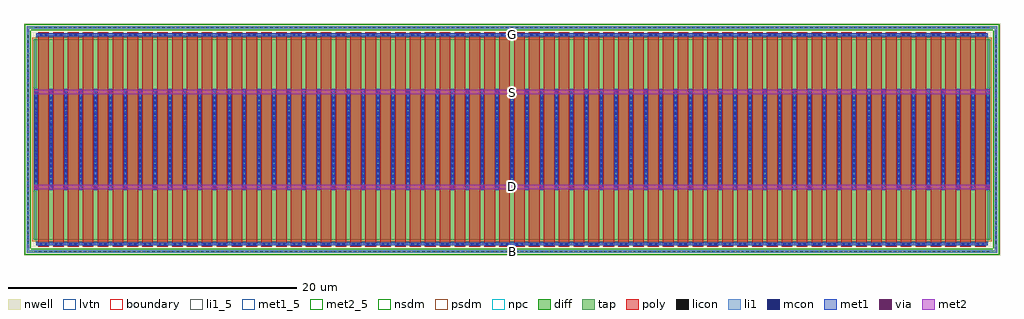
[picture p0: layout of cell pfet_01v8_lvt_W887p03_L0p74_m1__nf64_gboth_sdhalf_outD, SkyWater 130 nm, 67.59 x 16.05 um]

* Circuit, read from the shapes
.subckt pfet_01v8_lvt_W887p03_L0p74_m1__nf64_gboth_sdhalf_outD B D G S
XM1 S G D B sky130_fd_pr__pfet_01v8_lvt w=13.86 l=0.74 m=64
.ends

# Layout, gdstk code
import gdstk
lib = gdstk.Library(unit=1e-6, precision=1e-09)
def R(c, l, rs):  # rectangles x0, y0, x1, y1
    for r in rs: c.add(gdstk.rectangle(r[:2], r[2:], *l))
def A(c, l, x, y, w, h, nx, ny, dx, dy):  # array of equal rectangles
    R(c, l, [(x+i*dx, y+j*dy, x+i*dx+w, y+j*dy+h) for i in range(nx) for j in range(ny)])
nwell = (64, 20)
diff = (65, 20)
tap = (65, 44)
poly = (66, 20)
licon = (66, 44)
li1_5 = (67, 5)
li1 = (67, 20)
mcon = (67, 44)
met1_5 = (68, 5)
met1 = (68, 20)
via = (68, 44)
met2_5 = (69, 5)
met2 = (69, 20)
nsdm = (93, 44)
psdm = (94, 20)
npc = (95, 20)
lvtn = (125, 44)
boundary = (235, 4)

sky130_fd_pr__pfet_01v8_ = lib.new_cell('sky130_fd_pr__pfet_01v8_lvt_4ATV9N')
R(sky130_fd_pr__pfet_01v8_, nwell, [(-33.795,-8.025,33.795,8.025)])
R(sky130_fd_pr__pfet_01v8_, diff, [(-33.105,-6.93,33.105,6.93)])
R(sky130_fd_pr__pfet_01v8_, tap, [(-33.615,-7.845,33.615,-7.675), (-33.615,-7.675,-33.445,7.675), (33.445,-7.675,33.615,7.675), (-33.615,7.675,33.615,7.845)])
A(sky130_fd_pr__pfet_01v8_, poly, -32.815, -7.415, 0.74, 14.83, 64, 1, 1.03, 0)
A(sky130_fd_pr__pfet_01v8_, licon, -33.065, -7.845, 0.17, 0.17, 195, 2, 0.34, 15.52)
A(sky130_fd_pr__pfet_01v8_, licon, -33.615, -7.225, 0.17, 0.17, 1, 43, 0, 0.34)
A(sky130_fd_pr__pfet_01v8_, licon, 33.445, -7.225, 0.17, 0.17, 1, 43, 0, 0.34)
A(sky130_fd_pr__pfet_01v8_, licon, -33.045, -3.315, 0.17, 0.17, 65, 20, 1.03, 0.34)
R(sky130_fd_pr__pfet_01v8_, licon, [(-32.7,-7.335,-32.53,-7.165), (-32.36,-7.335,-32.19,-7.165), (-31.67,-7.335,-31.5,-7.165), (-31.33,-7.335,-31.16,-7.165), (-30.64,-7.335,-30.47,-7.165), (-30.3,-7.335,-30.13,-7.165), (-29.61,-7.335,-29.44,-7.165), (-29.27,-7.335,-29.1,-7.165), (-28.58,-7.335,-28.41,-7.165), (-28.24,-7.335,-28.07,-7.165), (-27.55,-7.335,-27.38,-7.165), (-27.21,-7.335,-27.04,-7.165), (-26.52,-7.335,-26.35,-7.165), (-26.18,-7.335,-26.01,-7.165), (-25.49,-7.335,-25.32,-7.165), (-25.15,-7.335,-24.98,-7.165), (-24.46,-7.335,-24.29,-7.165), (-24.12,-7.335,-23.95,-7.165), (-23.43,-7.335,-23.26,-7.165), (-23.09,-7.335,-22.92,-7.165), (-22.4,-7.335,-22.23,-7.165), (-22.06,-7.335,-21.89,-7.165), (-21.37,-7.335,-21.2,-7.165), (-21.03,-7.335,-20.86,-7.165), (-20.34,-7.335,-20.17,-7.165), (-20,-7.335,-19.83,-7.165), (-19.31,-7.335,-19.14,-7.165), (-18.97,-7.335,-18.8,-7.165), (-18.28,-7.335,-18.11,-7.165), (-17.94,-7.335,-17.77,-7.165), (-17.25,-7.335,-17.08,-7.165), (-16.91,-7.335,-16.74,-7.165), (-16.22,-7.335,-16.05,-7.165), (-15.88,-7.335,-15.71,-7.165), (-15.19,-7.335,-15.02,-7.165), (-14.85,-7.335,-14.68,-7.165), (-14.16,-7.335,-13.99,-7.165), (-13.82,-7.335,-13.65,-7.165), (-13.13,-7.335,-12.96,-7.165), (-12.79,-7.335,-12.62,-7.165), (-12.1,-7.335,-11.93,-7.165), (-11.76,-7.335,-11.59,-7.165), (-11.07,-7.335,-10.9,-7.165), (-10.73,-7.335,-10.56,-7.165), (-10.04,-7.335,-9.87,-7.165), (-9.7,-7.335,-9.53,-7.165), (-9.01,-7.335,-8.84,-7.165), (-8.67,-7.335,-8.5,-7.165), (-7.98,-7.335,-7.81,-7.165), (-7.64,-7.335,-7.47,-7.165), (-6.95,-7.335,-6.78,-7.165), (-6.61,-7.335,-6.44,-7.165), (-5.92,-7.335,-5.75,-7.165), (-5.58,-7.335,-5.41,-7.165), (-4.89,-7.335,-4.72,-7.165), (-4.55,-7.335,-4.38,-7.165), (-3.86,-7.335,-3.69,-7.165), (-3.52,-7.335,-3.35,-7.165), (-2.83,-7.335,-2.66,-7.165), (-2.49,-7.335,-2.32,-7.165), (-1.8,-7.335,-1.63,-7.165), (-1.46,-7.335,-1.29,-7.165), (-0.77,-7.335,-0.6,-7.165), (-0.43,-7.335,-0.26,-7.165), (0.26,-7.335,0.43,-7.165), (0.6,-7.335,0.77,-7.165), (1.29,-7.335,1.46,-7.165), (1.63,-7.335,1.8,-7.165), (2.32,-7.335,2.49,-7.165), (2.66,-7.335,2.83,-7.165), (3.35,-7.335,3.52,-7.165), (3.69,-7.335,3.86,-7.165), (4.38,-7.335,4.55,-7.165), (4.72,-7.335,4.89,-7.165), (5.41,-7.335,5.58,-7.165), (5.75,-7.335,5.92,-7.165), (6.44,-7.335,6.61,-7.165), (6.78,-7.335,6.95,-7.165), (7.47,-7.335,7.64,-7.165), (7.81,-7.335,7.98,-7.165), (8.5,-7.335,8.67,-7.165), (8.84,-7.335,9.01,-7.165), (9.53,-7.335,9.7,-7.165), (9.87,-7.335,10.04,-7.165), (10.56,-7.335,10.73,-7.165), (10.9,-7.335,11.07,-7.165), (11.59,-7.335,11.76,-7.165), (11.93,-7.335,12.1,-7.165), (12.62,-7.335,12.79,-7.165), (12.96,-7.335,13.13,-7.165), (13.65,-7.335,13.82,-7.165), (13.99,-7.335,14.16,-7.165), (14.68,-7.335,14.85,-7.165), (15.02,-7.335,15.19,-7.165), (15.71,-7.335,15.88,-7.165), (16.05,-7.335,16.22,-7.165), (16.74,-7.335,16.91,-7.165), (17.08,-7.335,17.25,-7.165), (17.77,-7.335,17.94,-7.165), (18.11,-7.335,18.28,-7.165), (18.8,-7.335,18.97,-7.165), (19.14,-7.335,19.31,-7.165), (19.83,-7.335,20,-7.165), (20.17,-7.335,20.34,-7.165), (20.86,-7.335,21.03,-7.165), (21.2,-7.335,21.37,-7.165), (21.89,-7.335,22.06,-7.165), (22.23,-7.335,22.4,-7.165), (22.92,-7.335,23.09,-7.165), (23.26,-7.335,23.43,-7.165), (23.95,-7.335,24.12,-7.165), (24.29,-7.335,24.46,-7.165), (24.98,-7.335,25.15,-7.165), (25.32,-7.335,25.49,-7.165), (26.01,-7.335,26.18,-7.165), (26.35,-7.335,26.52,-7.165), (27.04,-7.335,27.21,-7.165), (27.38,-7.335,27.55,-7.165), (28.07,-7.335,28.24,-7.165), (28.41,-7.335,28.58,-7.165), (29.1,-7.335,29.27,-7.165), (29.44,-7.335,29.61,-7.165), (30.13,-7.335,30.3,-7.165), (30.47,-7.335,30.64,-7.165), (31.16,-7.335,31.33,-7.165), (31.5,-7.335,31.67,-7.165), (32.19,-7.335,32.36,-7.165), (32.53,-7.335,32.7,-7.165), (-32.7,7.165,-32.53,7.335), (-32.36,7.165,-32.19,7.335), (-31.67,7.165,-31.5,7.335), (-31.33,7.165,-31.16,7.335), (-30.64,7.165,-30.47,7.335), (-30.3,7.165,-30.13,7.335), (-29.61,7.165,-29.44,7.335), (-29.27,7.165,-29.1,7.335), (-28.58,7.165,-28.41,7.335), (-28.24,7.165,-28.07,7.335), (-27.55,7.165,-27.38,7.335), (-27.21,7.165,-27.04,7.335), (-26.52,7.165,-26.35,7.335), (-26.18,7.165,-26.01,7.335), (-25.49,7.165,-25.32,7.335), (-25.15,7.165,-24.98,7.335), (-24.46,7.165,-24.29,7.335), (-24.12,7.165,-23.95,7.335), (-23.43,7.165,-23.26,7.335), (-23.09,7.165,-22.92,7.335), (-22.4,7.165,-22.23,7.335), (-22.06,7.165,-21.89,7.335), (-21.37,7.165,-21.2,7.335), (-21.03,7.165,-20.86,7.335), (-20.34,7.165,-20.17,7.335), (-20,7.165,-19.83,7.335), (-19.31,7.165,-19.14,7.335), (-18.97,7.165,-18.8,7.335), (-18.28,7.165,-18.11,7.335), (-17.94,7.165,-17.77,7.335), (-17.25,7.165,-17.08,7.335), (-16.91,7.165,-16.74,7.335), (-16.22,7.165,-16.05,7.335), (-15.88,7.165,-15.71,7.335), (-15.19,7.165,-15.02,7.335), (-14.85,7.165,-14.68,7.335), (-14.16,7.165,-13.99,7.335), (-13.82,7.165,-13.65,7.335), (-13.13,7.165,-12.96,7.335), (-12.79,7.165,-12.62,7.335), (-12.1,7.165,-11.93,7.335), (-11.76,7.165,-11.59,7.335), (-11.07,7.165,-10.9,7.335), (-10.73,7.165,-10.56,7.335), (-10.04,7.165,-9.87,7.335), (-9.7,7.165,-9.53,7.335), (-9.01,7.165,-8.84,7.335), (-8.67,7.165,-8.5,7.335), (-7.98,7.165,-7.81,7.335), (-7.64,7.165,-7.47,7.335), (-6.95,7.165,-6.78,7.335), (-6.61,7.165,-6.44,7.335), (-5.92,7.165,-5.75,7.335), (-5.58,7.165,-5.41,7.335), (-4.89,7.165,-4.72,7.335), (-4.55,7.165,-4.38,7.335), (-3.86,7.165,-3.69,7.335), (-3.52,7.165,-3.35,7.335), (-2.83,7.165,-2.66,7.335), (-2.49,7.165,-2.32,7.335), (-1.8,7.165,-1.63,7.335), (-1.46,7.165,-1.29,7.335), (-0.77,7.165,-0.6,7.335), (-0.43,7.165,-0.26,7.335), (0.26,7.165,0.43,7.335), (0.6,7.165,0.77,7.335), (1.29,7.165,1.46,7.335), (1.63,7.165,1.8,7.335), (2.32,7.165,2.49,7.335), (2.66,7.165,2.83,7.335), (3.35,7.165,3.52,7.335), (3.69,7.165,3.86,7.335), (4.38,7.165,4.55,7.335), (4.72,7.165,4.89,7.335), (5.41,7.165,5.58,7.335), (5.75,7.165,5.92,7.335), (6.44,7.165,6.61,7.335), (6.78,7.165,6.95,7.335), (7.47,7.165,7.64,7.335), (7.81,7.165,7.98,7.335), (8.5,7.165,8.67,7.335), (8.84,7.165,9.01,7.335), (9.53,7.165,9.7,7.335), (9.87,7.165,10.04,7.335), (10.56,7.165,10.73,7.335), (10.9,7.165,11.07,7.335), (11.59,7.165,11.76,7.335), (11.93,7.165,12.1,7.335), (12.62,7.165,12.79,7.335), (12.96,7.165,13.13,7.335), (13.65,7.165,13.82,7.335), (13.99,7.165,14.16,7.335), (14.68,7.165,14.85,7.335), (15.02,7.165,15.19,7.335), (15.71,7.165,15.88,7.335), (16.05,7.165,16.22,7.335), (16.74,7.165,16.91,7.335), (17.08,7.165,17.25,7.335), (17.77,7.165,17.94,7.335), (18.11,7.165,18.28,7.335), (18.8,7.165,18.97,7.335), (19.14,7.165,19.31,7.335), (19.83,7.165,20,7.335), (20.17,7.165,20.34,7.335), (20.86,7.165,21.03,7.335), (21.2,7.165,21.37,7.335), (21.89,7.165,22.06,7.335), (22.23,7.165,22.4,7.335), (22.92,7.165,23.09,7.335), (23.26,7.165,23.43,7.335), (23.95,7.165,24.12,7.335), (24.29,7.165,24.46,7.335), (24.98,7.165,25.15,7.335), (25.32,7.165,25.49,7.335), (26.01,7.165,26.18,7.335), (26.35,7.165,26.52,7.335), (27.04,7.165,27.21,7.335), (27.38,7.165,27.55,7.335), (28.07,7.165,28.24,7.335), (28.41,7.165,28.58,7.335), (29.1,7.165,29.27,7.335), (29.44,7.165,29.61,7.335), (30.13,7.165,30.3,7.335), (30.47,7.165,30.64,7.335), (31.16,7.165,31.33,7.335), (31.5,7.165,31.67,7.335), (32.19,7.165,32.36,7.335), (32.53,7.165,32.7,7.335)])
A(sky130_fd_pr__pfet_01v8_, li1, -33.045, -3.515, 0.17, 7.03, 65, 1, 1.03, 0)
R(sky130_fd_pr__pfet_01v8_, li1, [(-33.615,-7.845,33.615,-7.675), (-33.615,-7.675,-33.445,7.675), (33.445,-7.675,33.615,7.675), (-32.96,-7.335,32.96,-7.165), (-32.96,7.165,32.96,7.335), (-33.615,7.675,33.615,7.845)])
A(sky130_fd_pr__pfet_01v8_, mcon, -33.045, -3.325, 0.17, 0.17, 65, 19, 1.03, 0.36)
R(sky130_fd_pr__pfet_01v8_, mcon, [(-32.71,-7.335,-32.54,-7.165), (-32.35,-7.335,-32.18,-7.165), (-31.68,-7.335,-31.51,-7.165), (-31.32,-7.335,-31.15,-7.165), (-30.65,-7.335,-30.48,-7.165), (-30.29,-7.335,-30.12,-7.165), (-29.62,-7.335,-29.45,-7.165), (-29.26,-7.335,-29.09,-7.165), (-28.59,-7.335,-28.42,-7.165), (-28.23,-7.335,-28.06,-7.165), (-27.56,-7.335,-27.39,-7.165), (-27.2,-7.335,-27.03,-7.165), (-26.53,-7.335,-26.36,-7.165), (-26.17,-7.335,-26,-7.165), (-25.5,-7.335,-25.33,-7.165), (-25.14,-7.335,-24.97,-7.165), (-24.47,-7.335,-24.3,-7.165), (-24.11,-7.335,-23.94,-7.165), (-23.44,-7.335,-23.27,-7.165), (-23.08,-7.335,-22.91,-7.165), (-22.41,-7.335,-22.24,-7.165), (-22.05,-7.335,-21.88,-7.165), (-21.38,-7.335,-21.21,-7.165), (-21.02,-7.335,-20.85,-7.165), (-20.35,-7.335,-20.18,-7.165), (-19.99,-7.335,-19.82,-7.165), (-19.32,-7.335,-19.15,-7.165), (-18.96,-7.335,-18.79,-7.165), (-18.29,-7.335,-18.12,-7.165), (-17.93,-7.335,-17.76,-7.165), (-17.26,-7.335,-17.09,-7.165), (-16.9,-7.335,-16.73,-7.165), (-16.23,-7.335,-16.06,-7.165), (-15.87,-7.335,-15.7,-7.165), (-15.2,-7.335,-15.03,-7.165), (-14.84,-7.335,-14.67,-7.165), (-14.17,-7.335,-14,-7.165), (-13.81,-7.335,-13.64,-7.165), (-13.14,-7.335,-12.97,-7.165), (-12.78,-7.335,-12.61,-7.165), (-12.11,-7.335,-11.94,-7.165), (-11.75,-7.335,-11.58,-7.165), (-11.08,-7.335,-10.91,-7.165), (-10.72,-7.335,-10.55,-7.165), (-10.05,-7.335,-9.88,-7.165), (-9.69,-7.335,-9.52,-7.165), (-9.02,-7.335,-8.85,-7.165), (-8.66,-7.335,-8.49,-7.165), (-7.99,-7.335,-7.82,-7.165), (-7.63,-7.335,-7.46,-7.165), (-6.96,-7.335,-6.79,-7.165), (-6.6,-7.335,-6.43,-7.165), (-5.93,-7.335,-5.76,-7.165), (-5.57,-7.335,-5.4,-7.165), (-4.9,-7.335,-4.73,-7.165), (-4.54,-7.335,-4.37,-7.165), (-3.87,-7.335,-3.7,-7.165), (-3.51,-7.335,-3.34,-7.165), (-2.84,-7.335,-2.67,-7.165), (-2.48,-7.335,-2.31,-7.165), (-1.81,-7.335,-1.64,-7.165), (-1.45,-7.335,-1.28,-7.165), (-0.78,-7.335,-0.61,-7.165), (-0.42,-7.335,-0.25,-7.165), (0.25,-7.335,0.42,-7.165), (0.61,-7.335,0.78,-7.165), (1.28,-7.335,1.45,-7.165), (1.64,-7.335,1.81,-7.165), (2.31,-7.335,2.48,-7.165), (2.67,-7.335,2.84,-7.165), (3.34,-7.335,3.51,-7.165), (3.7,-7.335,3.87,-7.165), (4.37,-7.335,4.54,-7.165), (4.73,-7.335,4.9,-7.165), (5.4,-7.335,5.57,-7.165), (5.76,-7.335,5.93,-7.165), (6.43,-7.335,6.6,-7.165), (6.79,-7.335,6.96,-7.165), (7.46,-7.335,7.63,-7.165), (7.82,-7.335,7.99,-7.165), (8.49,-7.335,8.66,-7.165), (8.85,-7.335,9.02,-7.165), (9.52,-7.335,9.69,-7.165), (9.88,-7.335,10.05,-7.165), (10.55,-7.335,10.72,-7.165), (10.91,-7.335,11.08,-7.165), (11.58,-7.335,11.75,-7.165), (11.94,-7.335,12.11,-7.165), (12.61,-7.335,12.78,-7.165), (12.97,-7.335,13.14,-7.165), (13.64,-7.335,13.81,-7.165), (14,-7.335,14.17,-7.165), (14.67,-7.335,14.84,-7.165), (15.03,-7.335,15.2,-7.165), (15.7,-7.335,15.87,-7.165), (16.06,-7.335,16.23,-7.165), (16.73,-7.335,16.9,-7.165), (17.09,-7.335,17.26,-7.165), (17.76,-7.335,17.93,-7.165), (18.12,-7.335,18.29,-7.165), (18.79,-7.335,18.96,-7.165), (19.15,-7.335,19.32,-7.165), (19.82,-7.335,19.99,-7.165), (20.18,-7.335,20.35,-7.165), (20.85,-7.335,21.02,-7.165), (21.21,-7.335,21.38,-7.165), (21.88,-7.335,22.05,-7.165), (22.24,-7.335,22.41,-7.165), (22.91,-7.335,23.08,-7.165), (23.27,-7.335,23.44,-7.165), (23.94,-7.335,24.11,-7.165), (24.3,-7.335,24.47,-7.165), (24.97,-7.335,25.14,-7.165), (25.33,-7.335,25.5,-7.165), (26,-7.335,26.17,-7.165), (26.36,-7.335,26.53,-7.165), (27.03,-7.335,27.2,-7.165), (27.39,-7.335,27.56,-7.165), (28.06,-7.335,28.23,-7.165), (28.42,-7.335,28.59,-7.165), (29.09,-7.335,29.26,-7.165), (29.45,-7.335,29.62,-7.165), (30.12,-7.335,30.29,-7.165), (30.48,-7.335,30.65,-7.165), (31.15,-7.335,31.32,-7.165), (31.51,-7.335,31.68,-7.165), (32.18,-7.335,32.35,-7.165), (32.54,-7.335,32.71,-7.165), (-32.71,7.165,-32.54,7.335), (-32.35,7.165,-32.18,7.335), (-31.68,7.165,-31.51,7.335), (-31.32,7.165,-31.15,7.335), (-30.65,7.165,-30.48,7.335), (-30.29,7.165,-30.12,7.335), (-29.62,7.165,-29.45,7.335), (-29.26,7.165,-29.09,7.335), (-28.59,7.165,-28.42,7.335), (-28.23,7.165,-28.06,7.335), (-27.56,7.165,-27.39,7.335), (-27.2,7.165,-27.03,7.335), (-26.53,7.165,-26.36,7.335), (-26.17,7.165,-26,7.335), (-25.5,7.165,-25.33,7.335), (-25.14,7.165,-24.97,7.335), (-24.47,7.165,-24.3,7.335), (-24.11,7.165,-23.94,7.335), (-23.44,7.165,-23.27,7.335), (-23.08,7.165,-22.91,7.335), (-22.41,7.165,-22.24,7.335), (-22.05,7.165,-21.88,7.335), (-21.38,7.165,-21.21,7.335), (-21.02,7.165,-20.85,7.335), (-20.35,7.165,-20.18,7.335), (-19.99,7.165,-19.82,7.335), (-19.32,7.165,-19.15,7.335), (-18.96,7.165,-18.79,7.335), (-18.29,7.165,-18.12,7.335), (-17.93,7.165,-17.76,7.335), (-17.26,7.165,-17.09,7.335), (-16.9,7.165,-16.73,7.335), (-16.23,7.165,-16.06,7.335), (-15.87,7.165,-15.7,7.335), (-15.2,7.165,-15.03,7.335), (-14.84,7.165,-14.67,7.335), (-14.17,7.165,-14,7.335), (-13.81,7.165,-13.64,7.335), (-13.14,7.165,-12.97,7.335), (-12.78,7.165,-12.61,7.335), (-12.11,7.165,-11.94,7.335), (-11.75,7.165,-11.58,7.335), (-11.08,7.165,-10.91,7.335), (-10.72,7.165,-10.55,7.335), (-10.05,7.165,-9.88,7.335), (-9.69,7.165,-9.52,7.335), (-9.02,7.165,-8.85,7.335), (-8.66,7.165,-8.49,7.335), (-7.99,7.165,-7.82,7.335), (-7.63,7.165,-7.46,7.335), (-6.96,7.165,-6.79,7.335), (-6.6,7.165,-6.43,7.335), (-5.93,7.165,-5.76,7.335), (-5.57,7.165,-5.4,7.335), (-4.9,7.165,-4.73,7.335), (-4.54,7.165,-4.37,7.335), (-3.87,7.165,-3.7,7.335), (-3.51,7.165,-3.34,7.335), (-2.84,7.165,-2.67,7.335), (-2.48,7.165,-2.31,7.335), (-1.81,7.165,-1.64,7.335), (-1.45,7.165,-1.28,7.335), (-0.78,7.165,-0.61,7.335), (-0.42,7.165,-0.25,7.335), (0.25,7.165,0.42,7.335), (0.61,7.165,0.78,7.335), (1.28,7.165,1.45,7.335), (1.64,7.165,1.81,7.335), (2.31,7.165,2.48,7.335), (2.67,7.165,2.84,7.335), (3.34,7.165,3.51,7.335), (3.7,7.165,3.87,7.335), (4.37,7.165,4.54,7.335), (4.73,7.165,4.9,7.335), (5.4,7.165,5.57,7.335), (5.76,7.165,5.93,7.335), (6.43,7.165,6.6,7.335), (6.79,7.165,6.96,7.335), (7.46,7.165,7.63,7.335), (7.82,7.165,7.99,7.335), (8.49,7.165,8.66,7.335), (8.85,7.165,9.02,7.335), (9.52,7.165,9.69,7.335), (9.88,7.165,10.05,7.335), (10.55,7.165,10.72,7.335), (10.91,7.165,11.08,7.335), (11.58,7.165,11.75,7.335), (11.94,7.165,12.11,7.335), (12.61,7.165,12.78,7.335), (12.97,7.165,13.14,7.335), (13.64,7.165,13.81,7.335), (14,7.165,14.17,7.335), (14.67,7.165,14.84,7.335), (15.03,7.165,15.2,7.335), (15.7,7.165,15.87,7.335), (16.06,7.165,16.23,7.335), (16.73,7.165,16.9,7.335), (17.09,7.165,17.26,7.335), (17.76,7.165,17.93,7.335), (18.12,7.165,18.29,7.335), (18.79,7.165,18.96,7.335), (19.15,7.165,19.32,7.335), (19.82,7.165,19.99,7.335), (20.18,7.165,20.35,7.335), (20.85,7.165,21.02,7.335), (21.21,7.165,21.38,7.335), (21.88,7.165,22.05,7.335), (22.24,7.165,22.41,7.335), (22.91,7.165,23.08,7.335), (23.27,7.165,23.44,7.335), (23.94,7.165,24.11,7.335), (24.3,7.165,24.47,7.335), (24.97,7.165,25.14,7.335), (25.33,7.165,25.5,7.335), (26,7.165,26.17,7.335), (26.36,7.165,26.53,7.335), (27.03,7.165,27.2,7.335), (27.39,7.165,27.56,7.335), (28.06,7.165,28.23,7.335), (28.42,7.165,28.59,7.335), (29.09,7.165,29.26,7.335), (29.45,7.165,29.62,7.335), (30.12,7.165,30.29,7.335), (30.48,7.165,30.65,7.335), (31.15,7.165,31.32,7.335), (31.51,7.165,31.68,7.335), (32.18,7.165,32.35,7.335), (32.54,7.165,32.71,7.335)])
A(sky130_fd_pr__pfet_01v8_, met1, -32.795, -7.365, 0.7, 0.03, 64, 2, 1.03, 0.2)
A(sky130_fd_pr__pfet_01v8_, met1, -33.075, -3.495, 0.23, 6.99, 65, 1, 1.03, 0)
A(sky130_fd_pr__pfet_01v8_, met1, -32.795, 7.135, 0.7, 0.03, 64, 2, 1.03, 0.2)
R(sky130_fd_pr__pfet_01v8_, met1, [(-32.96,-7.335,32.96,-7.165), (-32.96,7.165,32.96,7.335)])
R(sky130_fd_pr__pfet_01v8_, nsdm, [(-33.74,-7.97,33.74,-7.55), (-33.74,-7.55,-33.32,7.55), (33.32,-7.55,33.74,7.55), (-33.74,7.55,33.74,7.97)])
R(sky130_fd_pr__pfet_01v8_, psdm, [(-33.23,-7.055,33.23,7.055)])
A(sky130_fd_pr__pfet_01v8_, npc, -32.8, -7.435, 0.71, 0.37, 64, 2, 1.03, 14.5)
R(sky130_fd_pr__pfet_01v8_, lvtn, [(-32.995,-7.11,32.995,7.11)])
R(sky130_fd_pr__pfet_01v8_, boundary, [(-33.53,-7.76,33.53,7.76)])
sky130_fd_pr__pfet_01v8_.add(gdstk.Label('B', (0,-7.76), layer=67, texttype=5))
sky130_fd_pr__pfet_01v8_.add(gdstk.Label('D0', (-32.96,0), layer=67, texttype=5))
sky130_fd_pr__pfet_01v8_.add(gdstk.Label('G', (32.445,7.25), layer=67, texttype=5))
sky130_fd_pr__pfet_01v8_.add(gdstk.Label('G', (31.415,7.25), layer=67, texttype=5))
sky130_fd_pr__pfet_01v8_.add(gdstk.Label('G', (30.385,7.25), layer=67, texttype=5))
sky130_fd_pr__pfet_01v8_.add(gdstk.Label('G', (29.355,7.25), layer=67, texttype=5))
sky130_fd_pr__pfet_01v8_.add(gdstk.Label('G', (28.325,7.25), layer=67, texttype=5))
sky130_fd_pr__pfet_01v8_.add(gdstk.Label('G', (27.295,7.25), layer=67, texttype=5))
sky130_fd_pr__pfet_01v8_.add(gdstk.Label('G', (26.265,7.25), layer=67, texttype=5))
sky130_fd_pr__pfet_01v8_.add(gdstk.Label('G', (25.235,7.25), layer=67, texttype=5))
sky130_fd_pr__pfet_01v8_.add(gdstk.Label('G', (24.205,7.25), layer=67, texttype=5))
sky130_fd_pr__pfet_01v8_.add(gdstk.Label('G', (23.175,7.25), layer=67, texttype=5))
sky130_fd_pr__pfet_01v8_.add(gdstk.Label('G', (22.145,7.25), layer=67, texttype=5))
sky130_fd_pr__pfet_01v8_.add(gdstk.Label('G', (21.115,7.25), layer=67, texttype=5))
sky130_fd_pr__pfet_01v8_.add(gdstk.Label('G', (20.085,7.25), layer=67, texttype=5))
sky130_fd_pr__pfet_01v8_.add(gdstk.Label('G', (19.055,7.25), layer=67, texttype=5))
sky130_fd_pr__pfet_01v8_.add(gdstk.Label('G', (18.025,7.25), layer=67, texttype=5))
sky130_fd_pr__pfet_01v8_.add(gdstk.Label('G', (16.995,7.25), layer=67, texttype=5))
sky130_fd_pr__pfet_01v8_.add(gdstk.Label('G', (15.965,7.25), layer=67, texttype=5))
sky130_fd_pr__pfet_01v8_.add(gdstk.Label('G', (14.935,7.25), layer=67, texttype=5))
sky130_fd_pr__pfet_01v8_.add(gdstk.Label('G', (13.905,7.25), layer=67, texttype=5))
sky130_fd_pr__pfet_01v8_.add(gdstk.Label('G', (12.875,7.25), layer=67, texttype=5))
sky130_fd_pr__pfet_01v8_.add(gdstk.Label('G', (11.845,7.25), layer=67, texttype=5))
sky130_fd_pr__pfet_01v8_.add(gdstk.Label('G', (10.815,7.25), layer=67, texttype=5))
sky130_fd_pr__pfet_01v8_.add(gdstk.Label('G', (9.785,7.25), layer=67, texttype=5))
sky130_fd_pr__pfet_01v8_.add(gdstk.Label('G', (8.755,7.25), layer=67, texttype=5))
sky130_fd_pr__pfet_01v8_.add(gdstk.Label('G', (7.725,7.25), layer=67, texttype=5))
sky130_fd_pr__pfet_01v8_.add(gdstk.Label('G', (6.695,7.25), layer=67, texttype=5))
sky130_fd_pr__pfet_01v8_.add(gdstk.Label('G', (5.665,7.25), layer=67, texttype=5))
sky130_fd_pr__pfet_01v8_.add(gdstk.Label('G', (4.635,7.25), layer=67, texttype=5))
sky130_fd_pr__pfet_01v8_.add(gdstk.Label('G', (3.605,7.25), layer=67, texttype=5))
sky130_fd_pr__pfet_01v8_.add(gdstk.Label('G', (2.575,7.25), layer=67, texttype=5))
sky130_fd_pr__pfet_01v8_.add(gdstk.Label('G', (1.545,7.25), layer=67, texttype=5))
sky130_fd_pr__pfet_01v8_.add(gdstk.Label('G', (0.515,7.25), layer=67, texttype=5))
sky130_fd_pr__pfet_01v8_.add(gdstk.Label('G', (-0.515,7.25), layer=67, texttype=5))
sky130_fd_pr__pfet_01v8_.add(gdstk.Label('G', (-1.545,7.25), layer=67, texttype=5))
sky130_fd_pr__pfet_01v8_.add(gdstk.Label('G', (-2.575,7.25), layer=67, texttype=5))
sky130_fd_pr__pfet_01v8_.add(gdstk.Label('G', (-3.605,7.25), layer=67, texttype=5))
sky130_fd_pr__pfet_01v8_.add(gdstk.Label('G', (-4.635,7.25), layer=67, texttype=5))
sky130_fd_pr__pfet_01v8_.add(gdstk.Label('G', (-5.665,7.25), layer=67, texttype=5))
sky130_fd_pr__pfet_01v8_.add(gdstk.Label('G', (-6.695,7.25), layer=67, texttype=5))
sky130_fd_pr__pfet_01v8_.add(gdstk.Label('G', (-7.725,7.25), layer=67, texttype=5))
sky130_fd_pr__pfet_01v8_.add(gdstk.Label('G', (-8.755,7.25), layer=67, texttype=5))
sky130_fd_pr__pfet_01v8_.add(gdstk.Label('G', (-9.785,7.25), layer=67, texttype=5))
sky130_fd_pr__pfet_01v8_.add(gdstk.Label('G', (-10.815,7.25), layer=67, texttype=5))
sky130_fd_pr__pfet_01v8_.add(gdstk.Label('G', (-11.845,7.25), layer=67, texttype=5))
sky130_fd_pr__pfet_01v8_.add(gdstk.Label('G', (-12.875,7.25), layer=67, texttype=5))
sky130_fd_pr__pfet_01v8_.add(gdstk.Label('G', (-13.905,7.25), layer=67, texttype=5))
sky130_fd_pr__pfet_01v8_.add(gdstk.Label('G', (-14.935,7.25), layer=67, texttype=5))
sky130_fd_pr__pfet_01v8_.add(gdstk.Label('G', (-15.965,7.25), layer=67, texttype=5))
sky130_fd_pr__pfet_01v8_.add(gdstk.Label('G', (-16.995,7.25), layer=67, texttype=5))
sky130_fd_pr__pfet_01v8_.add(gdstk.Label('G', (-18.025,7.25), layer=67, texttype=5))
sky130_fd_pr__pfet_01v8_.add(gdstk.Label('G', (-19.055,7.25), layer=67, texttype=5))
sky130_fd_pr__pfet_01v8_.add(gdstk.Label('G', (-20.085,7.25), layer=67, texttype=5))
sky130_fd_pr__pfet_01v8_.add(gdstk.Label('G', (-21.115,7.25), layer=67, texttype=5))
sky130_fd_pr__pfet_01v8_.add(gdstk.Label('G', (-22.145,7.25), layer=67, texttype=5))
sky130_fd_pr__pfet_01v8_.add(gdstk.Label('G', (-23.175,7.25), layer=67, texttype=5))
sky130_fd_pr__pfet_01v8_.add(gdstk.Label('G', (-24.205,7.25), layer=67, texttype=5))
sky130_fd_pr__pfet_01v8_.add(gdstk.Label('G', (-25.235,7.25), layer=67, texttype=5))
sky130_fd_pr__pfet_01v8_.add(gdstk.Label('G', (-26.265,7.25), layer=67, texttype=5))
sky130_fd_pr__pfet_01v8_.add(gdstk.Label('G', (-27.295,7.25), layer=67, texttype=5))
sky130_fd_pr__pfet_01v8_.add(gdstk.Label('G', (-28.325,7.25), layer=67, texttype=5))
sky130_fd_pr__pfet_01v8_.add(gdstk.Label('G', (-29.355,7.25), layer=67, texttype=5))
sky130_fd_pr__pfet_01v8_.add(gdstk.Label('G', (-30.385,7.25), layer=67, texttype=5))
sky130_fd_pr__pfet_01v8_.add(gdstk.Label('G', (-31.415,7.25), layer=67, texttype=5))
sky130_fd_pr__pfet_01v8_.add(gdstk.Label('G', (-32.445,7.25), layer=67, texttype=5))
sky130_fd_pr__pfet_01v8_.add(gdstk.Label('S1', (-31.93,0), layer=67, texttype=5))
sky130_fd_pr__pfet_01v8_.add(gdstk.Label('D2', (-30.9,0), layer=67, texttype=5))
sky130_fd_pr__pfet_01v8_.add(gdstk.Label('S3', (-29.87,0), layer=67, texttype=5))
sky130_fd_pr__pfet_01v8_.add(gdstk.Label('D4', (-28.84,0), layer=67, texttype=5))
sky130_fd_pr__pfet_01v8_.add(gdstk.Label('S5', (-27.81,0), layer=67, texttype=5))
sky130_fd_pr__pfet_01v8_.add(gdstk.Label('D6', (-26.78,0), layer=67, texttype=5))
sky130_fd_pr__pfet_01v8_.add(gdstk.Label('S7', (-25.75,0), layer=67, texttype=5))
sky130_fd_pr__pfet_01v8_.add(gdstk.Label('D8', (-24.72,0), layer=67, texttype=5))
sky130_fd_pr__pfet_01v8_.add(gdstk.Label('S9', (-23.69,0), layer=67, texttype=5))
sky130_fd_pr__pfet_01v8_.add(gdstk.Label('D10', (-22.66,0), layer=67, texttype=5))
sky130_fd_pr__pfet_01v8_.add(gdstk.Label('S11', (-21.63,0), layer=67, texttype=5))
sky130_fd_pr__pfet_01v8_.add(gdstk.Label('D12', (-20.6,0), layer=67, texttype=5))
sky130_fd_pr__pfet_01v8_.add(gdstk.Label('S13', (-19.57,0), layer=67, texttype=5))
sky130_fd_pr__pfet_01v8_.add(gdstk.Label('D14', (-18.54,0), layer=67, texttype=5))
sky130_fd_pr__pfet_01v8_.add(gdstk.Label('S15', (-17.51,0), layer=67, texttype=5))
sky130_fd_pr__pfet_01v8_.add(gdstk.Label('D16', (-16.48,0), layer=67, texttype=5))
sky130_fd_pr__pfet_01v8_.add(gdstk.Label('S17', (-15.45,0), layer=67, texttype=5))
sky130_fd_pr__pfet_01v8_.add(gdstk.Label('D18', (-14.42,0), layer=67, texttype=5))
sky130_fd_pr__pfet_01v8_.add(gdstk.Label('S19', (-13.39,0), layer=67, texttype=5))
sky130_fd_pr__pfet_01v8_.add(gdstk.Label('D20', (-12.36,0), layer=67, texttype=5))
sky130_fd_pr__pfet_01v8_.add(gdstk.Label('S21', (-11.33,0), layer=67, texttype=5))
sky130_fd_pr__pfet_01v8_.add(gdstk.Label('D22', (-10.3,0), layer=67, texttype=5))
sky130_fd_pr__pfet_01v8_.add(gdstk.Label('S23', (-9.27,0), layer=67, texttype=5))
sky130_fd_pr__pfet_01v8_.add(gdstk.Label('D24', (-8.24,0), layer=67, texttype=5))
sky130_fd_pr__pfet_01v8_.add(gdstk.Label('S25', (-7.21,0), layer=67, texttype=5))
sky130_fd_pr__pfet_01v8_.add(gdstk.Label('D26', (-6.18,0), layer=67, texttype=5))
sky130_fd_pr__pfet_01v8_.add(gdstk.Label('S27', (-5.15,0), layer=67, texttype=5))
sky130_fd_pr__pfet_01v8_.add(gdstk.Label('D28', (-4.12,0), layer=67, texttype=5))
sky130_fd_pr__pfet_01v8_.add(gdstk.Label('S29', (-3.09,0), layer=67, texttype=5))
sky130_fd_pr__pfet_01v8_.add(gdstk.Label('D30', (-2.06,0), layer=67, texttype=5))
sky130_fd_pr__pfet_01v8_.add(gdstk.Label('S31', (-1.03,0), layer=67, texttype=5))
sky130_fd_pr__pfet_01v8_.add(gdstk.Label('D32', (0,0), layer=67, texttype=5))
sky130_fd_pr__pfet_01v8_.add(gdstk.Label('S33', (1.03,0), layer=67, texttype=5))
sky130_fd_pr__pfet_01v8_.add(gdstk.Label('D34', (2.06,0), layer=67, texttype=5))
sky130_fd_pr__pfet_01v8_.add(gdstk.Label('S35', (3.09,0), layer=67, texttype=5))
sky130_fd_pr__pfet_01v8_.add(gdstk.Label('D36', (4.12,0), layer=67, texttype=5))
sky130_fd_pr__pfet_01v8_.add(gdstk.Label('S37', (5.15,0), layer=67, texttype=5))
sky130_fd_pr__pfet_01v8_.add(gdstk.Label('D38', (6.18,0), layer=67, texttype=5))
sky130_fd_pr__pfet_01v8_.add(gdstk.Label('S39', (7.21,0), layer=67, texttype=5))
sky130_fd_pr__pfet_01v8_.add(gdstk.Label('D40', (8.24,0), layer=67, texttype=5))
sky130_fd_pr__pfet_01v8_.add(gdstk.Label('S41', (9.27,0), layer=67, texttype=5))
sky130_fd_pr__pfet_01v8_.add(gdstk.Label('D42', (10.3,0), layer=67, texttype=5))
sky130_fd_pr__pfet_01v8_.add(gdstk.Label('S43', (11.33,0), layer=67, texttype=5))
sky130_fd_pr__pfet_01v8_.add(gdstk.Label('D44', (12.36,0), layer=67, texttype=5))
sky130_fd_pr__pfet_01v8_.add(gdstk.Label('S45', (13.39,0), layer=67, texttype=5))
sky130_fd_pr__pfet_01v8_.add(gdstk.Label('D46', (14.42,0), layer=67, texttype=5))
sky130_fd_pr__pfet_01v8_.add(gdstk.Label('S47', (15.45,0), layer=67, texttype=5))
sky130_fd_pr__pfet_01v8_.add(gdstk.Label('D48', (16.48,0), layer=67, texttype=5))
sky130_fd_pr__pfet_01v8_.add(gdstk.Label('S49', (17.51,0), layer=67, texttype=5))
sky130_fd_pr__pfet_01v8_.add(gdstk.Label('D50', (18.54,0), layer=67, texttype=5))
sky130_fd_pr__pfet_01v8_.add(gdstk.Label('S51', (19.57,0), layer=67, texttype=5))
sky130_fd_pr__pfet_01v8_.add(gdstk.Label('D52', (20.6,0), layer=67, texttype=5))
sky130_fd_pr__pfet_01v8_.add(gdstk.Label('S53', (21.63,0), layer=67, texttype=5))
sky130_fd_pr__pfet_01v8_.add(gdstk.Label('D54', (22.66,0), layer=67, texttype=5))
sky130_fd_pr__pfet_01v8_.add(gdstk.Label('S55', (23.69,0), layer=67, texttype=5))
sky130_fd_pr__pfet_01v8_.add(gdstk.Label('D56', (24.72,0), layer=67, texttype=5))
sky130_fd_pr__pfet_01v8_.add(gdstk.Label('S57', (25.75,0), layer=67, texttype=5))
sky130_fd_pr__pfet_01v8_.add(gdstk.Label('D58', (26.78,0), layer=67, texttype=5))
sky130_fd_pr__pfet_01v8_.add(gdstk.Label('S59', (27.81,0), layer=67, texttype=5))
sky130_fd_pr__pfet_01v8_.add(gdstk.Label('D60', (28.84,0), layer=67, texttype=5))
sky130_fd_pr__pfet_01v8_.add(gdstk.Label('S61', (29.87,0), layer=67, texttype=5))
sky130_fd_pr__pfet_01v8_.add(gdstk.Label('D62', (30.9,0), layer=67, texttype=5))
sky130_fd_pr__pfet_01v8_.add(gdstk.Label('S63', (31.93,0), layer=67, texttype=5))

pfet_01v8_lvt_w887p03_l0 = lib.new_cell('pfet_01v8_lvt_W887p03_L0p74_m1__nf64_gboth_sdhalf_outD')
R(pfet_01v8_lvt_w887p03_l0, li1_5, [(33.445,-0.085,33.615,0.085)])
R(pfet_01v8_lvt_w887p03_l0, li1, [(33.445,-0.085,33.615,0.085)])
R(pfet_01v8_lvt_w887p03_l0, met1_5, [(0.57,14.895,66.49,15.125)])
A(pfet_01v8_lvt_w887p03_l0, met1, 0.44, 4.315, 0.26, 0.32, 33, 1, 2.06, 0)
A(pfet_01v8_lvt_w887p03_l0, met1, 1.47, 10.885, 0.26, 0.32, 32, 1, 2.06, 0)
R(pfet_01v8_lvt_w887p03_l0, met1, [(0.57,14.895,66.49,15.125)])
A(pfet_01v8_lvt_w887p03_l0, via, 0.495, 4.4, 0.15, 0.15, 33, 1, 2.06, 0)
A(pfet_01v8_lvt_w887p03_l0, via, 1.525, 10.97, 0.15, 0.15, 32, 1, 2.06, 0)
R(pfet_01v8_lvt_w887p03_l0, met2_5, [(0.435,4.315,66.625,4.635), (0.435,10.885,66.625,11.205)])
R(pfet_01v8_lvt_w887p03_l0, met2, [(0.435,4.315,66.625,4.635), (0.435,10.885,66.625,11.205)])
pfet_01v8_lvt_w887p03_l0.add(gdstk.Reference(sky130_fd_pr__pfet_01v8_, (33.53,7.76)))
pfet_01v8_lvt_w887p03_l0.add(gdstk.Label('S', (33.53,11.045), layer=69, texttype=5))
pfet_01v8_lvt_w887p03_l0.add(gdstk.Label('D', (33.53,4.475), layer=69, texttype=5))
pfet_01v8_lvt_w887p03_l0.add(gdstk.Label('G', (33.53,15.01), layer=68, texttype=5))
pfet_01v8_lvt_w887p03_l0.add(gdstk.Label('B', (33.53,0), layer=67, texttype=5))

lib.write_gds('pfet_01v8_lvt_W887p03_L0p74_m1__nf64_gboth_sdhalf_outD.gds')
